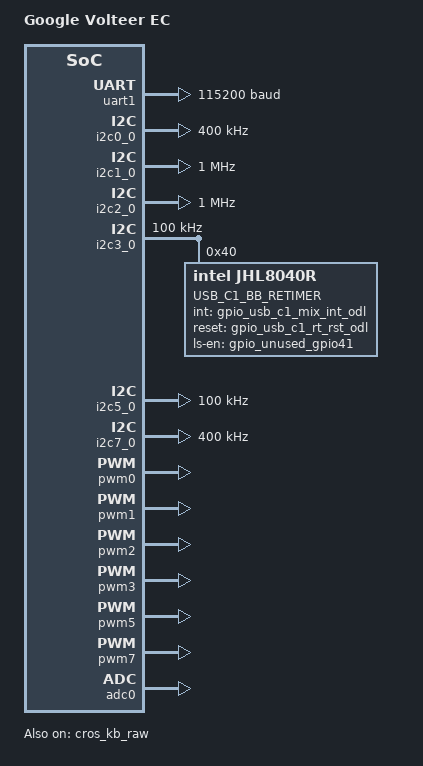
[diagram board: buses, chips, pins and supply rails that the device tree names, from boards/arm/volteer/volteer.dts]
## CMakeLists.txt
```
# Copyright 2020 The Chromium OS Authors. All rights reserved.
# Use of this source code is governed by a BSD-style license that can be
# found in the LICENSE file.
# SPDX-License-Identifier: Apache-2.0

cmake_minimum_required(VERSION 3.13.1)
set(BOARD_ROOT ${CMAKE_CURRENT_LIST_DIR})
set(BOARD volteer)

find_package(Zephyr REQUIRED HINTS $ENV{ZEPHYR_BASE})
project(volteer)

set(PLATFORM_EC_BOARD "${PLATFORM_EC}/board/volteer" CACHE PATH
    "Path to the platform/ec board directory")
set(PLATFORM_EC_BASEBOARD "${PLATFORM_EC}/baseboard/volteer" CACHE PATH
    "Path to the platform/ec baseboard directory")

# Include board specific header files
zephyr_include_directories(
  include
  ${PLATFORM_EC_BASEBOARD}
  ${PLATFORM_EC_BOARD})

# Include selected EC source for the baseboard
zephyr_sources_ifdef(CONFIG_PLATFORM_EC_BATTERY
  "${PLATFORM_EC_BASEBOARD}/battery_presence.c")
zephyr_sources_ifdef(CONFIG_PLATFORM_EC_CHARGE_MANAGER
  "${PLATFORM_EC_BASEBOARD}/charger.c")
zephyr_sources_ifdef(CONFIG_PLATFORM_EC_CBI
  "${PLATFORM_EC_BASEBOARD}/cbi.c"
  "${PLATFORM_EC_BASEBOARD}/cbi_ec_fw_config.c")
zephyr_sources_ifdef(CONFIG_PLATFORM_EC_POWERSEQ
  "${PLATFORM_EC_BASEBOARD}/power.c")
zephyr_sources_ifdef(CONFIG_PLATFORM_EC_USB_POWER_DELIVERY
  "${PLATFORM_EC_BASEBOARD}/usb_pd_policy.c")
zephyr_sources_ifdef(CONFIG_PLATFORM_EC_USBC
  "${PLATFORM_EC_BASEBOARD}/usbc_config.c")

# Include selected EC source for the board
zephyr_sources_ifdef(CONFIG_PLATFORM_EC_BATTERY
  "${PLATFORM_EC_BOARD}/battery.c")
zephyr_sources_ifdef(CONFIG_PLATFORM_EC_CBI
  "${PLATFORM_EC_BOARD}/cbi.c")
zephyr_sources_ifdef(CONFIG_PLATFORM_EC_KEYBOARD_BOARD_CONFIG
  "${PLATFORM_EC_BOARD}/keyboard.c")
zephyr_sources_ifdef(CONFIG_PLATFORM_EC_LED_COMMON
  "${PLATFORM_EC_BOARD}/led.c")
zephyr_sources_ifdef(CONFIG_PLATFORM_EC_USBC
  "${PLATFORM_EC_BOARD}/usbc_config.c")

# TODO: b/177854276, b/174851465
# Fan stub requires on PWM support.  Remove once full fan support
# is available.
zephyr_sources_ifdef(CONFIG_PLATFORM_EC_PWM         "src/fan.c")
zephyr_sources_ifdef(CONFIG_PLATFORM_EC_MOTIONSENSE "src/sensors.c")
```

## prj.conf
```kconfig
# Copyright 2021 The Chromium OS Authors. All rights reserved.
# Use of this source code is governed by a BSD-style license that can be
# found in the LICENSE file.

CONFIG_CROS_EC=y

# SoC configuration
CONFIG_AP=y
CONFIG_AP_X86_INTEL_TGL=y

# eSPI
CONFIG_ESPI=y
CONFIG_PLATFORM_EC_ESPI_VW_SLP_S4=y

CONFIG_PLATFORM_EC=y
CONFIG_SHIMMED_TASKS=y
CONFIG_ADC=y
CONFIG_I2C=y
CONFIG_PLATFORM_EC_EXTPOWER_GPIO=y
CONFIG_PLATFORM_EC_LID_SWITCH=y
CONFIG_PLATFORM_EC_POWER_BUTTON=y
CONFIG_PLATFORM_EC_CBI=y

# Keyboard
CONFIG_PLATFORM_EC_KEYBOARD=y
CONFIG_PLATFORM_EC_KEYBOARD_COL2_INVERTED=y
CONFIG_PLATFORM_EC_KEYBOARD_BOARD_CONFIG=y
CONFIG_PLATFORM_EC_KEYBOARD_KEYPAD=y
CONFIG_PLATFORM_EC_KEYBOARD_PWRBTN_ASSERTS_KSI2=y
CONFIG_PLATFORM_EC_VOLUME_BUTTONS=y

# Battery
CONFIG_PLATFORM_EC_BATTERY=y
CONFIG_PLATFORM_EC_BATTERY_SMART=y
CONFIG_PLATFORM_EC_BATTERY_FUEL_GAUGE=y

# TODO(b/179393708): re-enable cut-off once working again
CONFIG_PLATFORM_EC_BATTERY_CUT_OFF=n

CONFIG_PLATFORM_EC_BATTERY_HW_PRESENT_CUSTOM=y
CONFIG_PLATFORM_EC_BATTERY_REVIVE_DISCONNECT=y

# Keyboard Backlight
CONFIG_PLATFORM_EC_PWM_KBLIGHT=y

# LED
CONFIG_PLATFORM_EC_LED_COMMON=y
CONFIG_PLATFORM_EC_LED_PWM=y

# Power Sequencing
CONFIG_PLATFORM_EC_POWERSEQ=y
CONFIG_PLATFORM_EC_POWERSEQ_RTC_RESET=y
CONFIG_PLATFORM_EC_POWERSEQ_S0IX=y
CONFIG_PLATFORM_EC_POWER_SLEEP_FAILURE_DETECTION=y

# PWM
CONFIG_PWM=y
CONFIG_PLATFORM_EC_PWM=y

# Sensors
CONFIG_PLATFORM_EC_MOTIONSENSE=y
CONFIG_PLATFORM_EC_ACCEL_FIFO=y
CONFIG_PLATFORM_EC_ACCEL_INTERRUPTS=y
CONFIG_PLATFORM_EC_ALS=y
CONFIG_PLATFORM_EC_ALS_COUNT=1
CONFIG_PLATFORM_EC_DYNAMIC_MOTION_SENSOR_COUNT=y
CONFIG_PLATFORM_EC_GMR_TABLET_MODE=y
CONFIG_PLATFORM_EC_LID_ANGLE=y
CONFIG_PLATFORM_EC_LID_ANGLE_UPDATE=y
CONFIG_PLATFORM_EC_SENSOR_TIGHT_TIMESTAMPS=y
CONFIG_PLATFORM_EC_TABLET_MODE=y
CONFIG_PLATFORM_EC_CMD_ACCELS=y
CONFIG_PLATFORM_EC_CMD_ACCEL_INFO=y

# Sensor Drivers
CONFIG_PLATFORM_EC_ACCEL_BMA255=y
CONFIG_PLATFORM_EC_ACCELGYRO_BMI260=y
CONFIG_PLATFORM_EC_ALS_TCS3400=y

# Temperature sensors
CONFIG_PLATFORM_EC_TEMP_SENSOR=y
CONFIG_PLATFORM_EC_THERMISTOR=y
CONFIG_PLATFORM_EC_STEINHART_HART_3V3_30K9_47K_4050B=y

# Miscellaneous tasks
CONFIG_HAS_TASK_KEYPROTO=y
CONFIG_HAS_TASK_POWERBTN=y

# MKBP event
CONFIG_PLATFORM_EC_MKBP_EVENT=y
CONFIG_PLATFORM_EC_MKBP_USE_GPIO=y

# USB-C and charging
CONFIG_HAS_TASK_CHARGER=y
CONFIG_PLATFORM_EC_CHARGER_MIN_BAT_PCT_FOR_POWER_ON=3
CONFIG_PLATFORM_EC_CHARGER_MIN_BAT_PCT_FOR_POWER_ON_WITH_AC=1
CONFIG_PLATFORM_EC_CHARGER_MIN_POWER_MW_FOR_POWER_ON_WITH_BATT=15000
CONFIG_PLATFORM_EC_CHARGER_MIN_POWER_MW_FOR_POWER_ON=15001
CONFIG_HAS_TASK_USB_CHG_P1=y
CONFIG_PLATFORM_EC_BC12_DETECT_PI3USB9201=y
CONFIG_PLATFORM_EC_USB_PID=0x503e
CONFIG_PLATFORM_EC_USBC_PPC_SN5S330=y
CONFIG_PLATFORM_EC_USBC_PPC_SYV682X=y
CONFIG_PLATFORM_EC_USBC_RETIMER_INTEL_BB=y
CONFIG_PLATFORM_EC_USB_DRP_ACC_TRYSRC=y
CONFIG_PLATFORM_EC_USB_MUX_VIRTUAL=y
CONFIG_PLATFORM_EC_USB_PD_ALT_MODE_UFP=y
CONFIG_PLATFORM_EC_USB_PD_VBUS_MEASURE_CHARGER=y
CONFIG_PLATFORM_EC_USB_PD_DISCHARGE_PPC=y
CONFIG_PLATFORM_EC_USB_PD_FRS=y
CONFIG_PLATFORM_EC_USB_PD_FRS_PPC=y
CONFIG_PLATFORM_EC_USB_PD_REV30=y
CONFIG_PLATFORM_EC_BATTERY_FUEL_GAUGE=y
CONFIG_PLATFORM_EC_USB_PD_VBUS_DETECT_TCPC=y
CONFIG_PLATFORM_EC_USB_PD_TCPM_PS8815=y
CONFIG_PLATFORM_EC_USB_PD_TCPM_RT1715=y
CONFIG_PLATFORM_EC_USB_PD_TCPM_TUSB422=y
CONFIG_PLATFORM_EC_USB_PD_TCPM_MUX=y
CONFIG_HAS_TASK_PD_C1=y
CONFIG_HAS_TASK_PD_INT_C1=y
CONFIG_PLATFORM_EC_USBC_PPC_DEDICATED_INT=y
CONFIG_PLATFORM_EC_USB_A_PORT_COUNT=1

# Flash
CONFIG_PLATFORM_EC_PROTECTED_STORAGE_OFF=0x0
CONFIG_PLATFORM_EC_PROTECTED_STORAGE_SIZE=0x40000
CONFIG_PLATFORM_EC_WRITABLE_STORAGE_OFF=0x40000
CONFIG_PLATFORM_EC_WRITABLE_STORAGE_SIZE=0x40000

# RAM
CONFIG_PLATFORM_EC_BOOT_RAM_SIZE=0x800
```

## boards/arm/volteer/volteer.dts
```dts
/*
 * Copyright (c) 2020 The Chromium OS Authors
 *
 * SPDX-License-Identifier: Apache-2.0
 */

/dts-v1/;

#include <cros/nuvoton/npcx.dtsi>
#include <dt-bindings/gpio_defines.h>
#include <nuvoton/npcx7m6fb.dtsi>

/ {
	model = "Google Volteer EC";

	aliases {
		i2c-0 = &i2c0_0;
		i2c-1 = &i2c1_0;
		i2c-2 = &i2c2_0;
		i2c-3 = &i2c3_0;
		i2c-5 = &i2c5_0;
		i2c-7 = &i2c7_0;
	};

	chosen {
		zephyr,sram = &sram0;
		zephyr,console = &uart1;
		zephyr,shell-uart = &uart1;
		zephyr,flash = &flash0;
	};

	ec-console {
		compatible = "ec-console";

		disabled = "hostcmd";
	};

	named-i2c-ports {
		compatible = "named-i2c-ports";

		sensor_i2c: sensor {
			i2c-port = <&i2c0_0>;
			label = "SENSOR";
		};
		usb-c0 {
			i2c-port = <&i2c1_0>;
			label = "USB_C0";
		};
		usb-c1 {
			i2c-port = <&i2c2_0>;
			label = "USB_C1";
		};
		usb1-mix {
			i2c-port = <&i2c3_0>;
			label = "USB_1_MIX";
		};
		power {
			i2c-port = <&i2c5_0>;
			label = "POWER";
		};
		eeprom {
			i2c-port = <&i2c7_0>;
			label = "EEPROM";
		};
	};

	named-pwms {
		compatible = "named-pwms";

		led1_blue {
			pwms = <&pwm2 0 PWM_POLARITY_INVERTED>;
			label = "LED1_BLUE";
			frequency = <4800>;
		};
		led2_green  {
			pwms = <&pwm0 0 PWM_POLARITY_INVERTED>;
			label = "LED2_GREEN";
			frequency = <4800>;
		};
		led3_red {
			pwms = <&pwm1 0 PWM_POLARITY_INVERTED>;
			label = "LED3_RED";
			frequency = <4800>;
		};
		led3_sidesel {
			pwms = <&pwm7 0 PWM_POLARITY_INVERTED>;
			label = "LED4_SIDESEL";
			frequency = <2400>;
		};
		kblight {
			pwms = <&pwm3 0 0>;
			label = "KBLIGHT";
			frequency = <2400>;
		};
		fan {
			pwms = <&pwm5 0 0>;
			label = "FAN";
			frequency = <25000>;
		};
	};

	named-adc-channels {
		compatible = "named-adc-channels";

		adc_charger: charger {
			label = "ADC_TEMP_SENSOR_CHARGER";
			channel = <0>;
		};
		adc_pp3300_regulator: pp3300_regulator {
			label = "ADC_TEMP_SENSOR_PP3300_REGULATOR";
			channel = <1>;
		};
		adc_ddr_soc: ddr_soc {
			label = "ADC_TEMP_SENSOR_DDR_SOC";
			channel = <8>;
		};
		adc_fan: fan {
			label = "ADC_TEMP_SENSOR_FAN";
			channel = <3>;
		};
	};

	named-temp-sensors {
		charger {
			compatible = "temp-3v3-30k9-47k-4050b";
			label = "TEMP_SENSOR_CHARGER";
			adc = <&adc_charger>;
		};
		pp3300_regulator {
			compatible = "temp-3v3-30k9-47k-4050b";
			label = "TEMP_SENSOR_PP3300_REGULATOR";
			adc = <&adc_pp3300_regulator>;
		};
		ddr_soc {
			compatible = "temp-3v3-30k9-47k-4050b";
			label = "TEMP_SENSOR_DDR_SOC";
			adc = <&adc_ddr_soc>;
		};
		fan {
			compatible = "temp-3v3-30k9-47k-4050b";
			label = "TEMP_SENSOR_FAN";
			adc = <&adc_fan>;
		};
	};

	named-gpios {
		compatible = "named-gpios";

		ec_lid_open {
			gpios = <&gpiod 2 GPIO_INPUT>;
			label = "EC_LID_OPEN";
		};
		ec_wp_l {
			gpios = <&gpioa 1 GPIO_INPUT>;
			label = "EC_WP_L";
		};
		h1_ec_pwr_btn_odl {
			gpios = <&gpio0 1 GPIO_INPUT>;
			label = "H1_EC_PWR_BTN_ODL";
		};
		acok_od {
			gpios = <&gpio0 0 GPIO_INPUT>;
			label = "ACOK_OD";
		};
		slp_s0_l {
			gpios = <&gpiod 5 GPIO_INPUT>;
			label = "SLP_S0_L";
		};
		slp_s3_l {
			gpios = <&gpioa 5 GPIO_INPUT>;
			label = "SLP_S3_L";
		};
		slp_sus_l {
			gpios = <&gpiod 7 GPIO_INPUT>;
			label = "SLP_SUS_L";
		};
		pg_ec_rsmrst_odl {
			gpios = <&gpioe 2 GPIO_INPUT>;
			label = "PG_EC_RSMRST_ODL";
		};
		pg_ec_dsw_pwrok {
			gpios = <&gpioc 7 GPIO_INPUT>;
			label = "PG_EC_DSW_PWROK";
		};
		pg_ec_all_sys_pwrgd {
			gpios = <&gpiof 4 GPIO_INPUT>;
			label = "PG_EC_ALL_SYS_PWRGD";
		};
		imu_int_l: ec_imu_int_l {
			gpios = <&gpio5 6 GPIO_INPUT>;
			label = "EC_IMU_INT_L";
		};
		als_rgb_int_l: ec_als_rgb_int_l {
			gpios = <&gpiod 4 GPIO_INPUT>;
			label = "EC_ALS_RGB_INT_L";
		};
		tablet_mode_l {
			gpios = <&gpio9 5 GPIO_INPUT>;
			label = "TABLET_MODE_L";
		};
		ec_accel_int {
			gpios = <&gpio8 1 (GPIO_INPUT | GPIO_PULL_UP)>;
			label = "EC_ACCEL_INT";
		};
		usb_c0_tcpc_int_odl {
			gpios = <&gpioe 0 GPIO_INPUT>;
			label = "USB_C0_TCPC_INT_ODL";
		};
		usb_c1_tcpc_int_odl {
			gpios = <&gpioa 2 GPIO_INPUT>;
			label = "USB_C1_TCPC_INT_ODL";
		};
		usb_c0_ppc_int_odl {
			gpios = <&gpio6 2 GPIO_INPUT>;
			label = "USB_C0_PPC_INT_ODL";
		};
		usb_c1_ppc_int_odl {
			gpios = <&gpiof 5 GPIO_INPUT>;
			label = "USB_C1_PPC_INT_ODL";
		};
		usb_c0_bc12_int_odl {
			gpios = <&gpioe 4 GPIO_INPUT>;
			label = "USB_C0_BC12_INT_ODL";
		};
		gpio_usb_c1_mix_int_odl: usb_c1_mix_int_odl {
			#gpio-cells = <0>;
			gpios = <&gpio0 3 GPIO_INPUT>;
			label = "USB_C1_MIX_INT_ODL";
		};
		usb_c1_frs_en {
			gpios = <&gpio9 4 GPIO_OUT_LOW>;
			label = "USB_C1_FRS_EN";
		};
		ec_voldn_btn_odl {
			gpios = <&gpio9 3 (GPIO_INPUT | GPIO_PULL_UP)>;
			label = "EC_VOLDN_BTN_ODL";
		};
		ec_volup_btn_odl {
			gpios = <&gpio9 7 (GPIO_INPUT | GPIO_PULL_UP)>;
			label = "EC_VOLUP_BTN_ODL";
		};
		en_pp3300_a {
			gpios = <&gpioa 3 GPIO_OUT_LOW>;
			label = "EN_PP3300_A";
		};
		en_pp5000_a {
			gpios = <&gpioa 4 GPIO_OUT_LOW>;
			label = "EN_PP5000_A";
		};
		en_ppvar_vccin {
			gpios = <&gpio4 3 GPIO_OUT_LOW>;
			label = "EN_PPVAR_VCCIN";
		};
		ec_pch_dsw_pwrok {
			gpios = <&gpioc 0 GPIO_OUT_LOW>;
			label = "EC_PCH_DSW_PWROK";
		};
		ec_rst_odl {
			gpios = <&gpio0 2 GPIO_INPUT>;
			label = "EC_RST_ODL";
		};
		ec_pch_sys_pwrok {
			gpios = <&gpio3 7 GPIO_OUT_LOW>;
			label = "EC_PCH_SYS_PWROK";
		};
		ec_pch_rsmrst_odl {
			gpios = <&gpioa 6 GPIO_ODR_LOW>;
			label = "EC_PCH_RSMRST_ODL";
		};
		ec_pch_pwr_btn_odl {
			gpios = <&gpioc 1 GPIO_ODR_HIGH>;
			label = "EC_PCH_PWR_BTN_ODL";
		};
		ec_pch_rtcrst {
			gpios = <&gpio7 6 GPIO_OUT_LOW>;
			label = "EC_PCH_RTCRST";
		};
		ec_pch_wake_odl {
			gpios = <&gpio7 4 GPIO_ODR_HIGH>;
			label = "EC_PCH_WAKE_ODL";
		};
		ec_entering_rw {
			gpios = <&gpioe 3 GPIO_OUT_LOW>;
			label = "EC_ENTERING_RW";
		};
		ec_prochot_odl {
			gpios = <&gpio6 3 GPIO_ODR_HIGH>;
			label = "EC_PROCHOT_ODL";
		};
		ec_prochot_in_l {
			gpios = <&gpiof 0 GPIO_INPUT>;
			label = "EC_PROCHOT_IN_L";
		};
		sys_rst_odl {
			gpios = <&gpioc 5 GPIO_ODR_HIGH>;
			label = "SYS_RST_ODL";
		};
		ec_pch_int_odl {
			gpios = <&gpiob 0 GPIO_ODR_HIGH>;
			label = "EC_PCH_INT_ODL";
		};
		en_pp5000_usba {
			gpios = <&gpioc 6 GPIO_OUT_LOW>;
			label = "EN_PP5000_USBA";
		};
		usb_a_low_pwr_od {
			gpios = <&gpio6 6 GPIO_ODR_LOW>;
			label = "USB_A_LOW_PWR_OD";
		};
		gpio_usb_c1_rt_rst_odl_boardid_0: usb_c1_rt_rst_odl_boardid_0 {
			#gpio-cells = <0>;
			gpios = <&gpio3 2 GPIO_ODR_LOW>;
			label = "USB_C1_RT_RST_ODL_BOARDID_0";
		};
		gpio_usb_c1_rt_rst_odl: usb_c1_rt_rst_odl {
			#gpio-cells = <0>;
			gpios = <&gpio8 3 GPIO_ODR_LOW>;
			label = "USB_C1_RT_RST_ODL";
		};
		usb_c0_oc_odl {
			gpios = <&gpiob 1 GPIO_ODR_HIGH>;
			label = "USB_C0_OC_ODL";
		};
		usb_c1_oc_odl {
			gpios = <&gpio5 0 GPIO_ODR_HIGH>;
			label = "USB_C1_OC_ODL";
		};
		usb_c1_rt_int_odl {
			gpios = <&gpiof 3 GPIO_INPUT>;
			label = "USB_C1_RT_INT_ODL";
		};
		ec_h1_packet_mode {
			gpios = <&gpio7 5 GPIO_OUT_LOW>;
			label = "EC_H1_PACKET_MODE";
		};
		m2_ssd_pln {
			gpios = <&gpioa 0 GPIO_ODR_HIGH>;
			label = "M2_SSD_PLN";
		};
		m2_ssd_pla {
			gpios = <&gpio7 0 GPIO_INPUT>;
			label = "M2_SSD_PLA";
		};
		ccd_mode_odl {
			gpios = <&gpioe 5 GPIO_INPUT>;
			label = "CCD_MODE_ODL";
		};
		ec_slp_s0ix {
			gpios = <&gpio7 2 (GPIO_INPUT | GPIO_PULL_UP)>;
			label = "EC_SLP_S0IX";
		};
		gpio_unused_gpio41: unused_gpio41 {
			#gpio-cells = <0>;
			gpios = <&gpio4 1 (GPIO_INPUT | GPIO_PULL_UP)>;
			label = "UNUSED_GPIO41";
		};
		unused_gpiof2 {
			gpios = <&gpiof 2 (GPIO_INPUT | GPIO_PULL_UP)>;
			label = "UNUSED_GPIOF2";
		};
		unused_gpio96 {
			gpios = <&gpio9 6 (GPIO_INPUT | GPIO_PULL_UP)>;
			label = "UNUSED_GPIO96";
		};
		unused_gpio34 {
			gpios = <&gpio3 4 (GPIO_INPUT | GPIO_PULL_UP)>;
			label = "UNUSED_GPIO34";
		};
		ec_kb_bl_en {
			gpios = <&gpio8 6 (GPIO_INPUT | GPIO_PULL_UP)>;
			label = "EC_KB_BL_EN";
		};
		ec_espi_alert_l {
			gpios = <&gpio5 7 (GPIO_INPUT | GPIO_PULL_UP)>;
			label = "EC_ESPI_ALERT_L";
		};
		ec_edp_bl_en {
			gpios = <&gpiod 3 GPIO_OUT_HIGH>;
			label = "EC_EDP_BL_EN";
		};
		ec_i2c0_sensor_scl {
			gpios = <&gpiob 5 GPIO_INPUT>;
			label = "EC_I2C0_SENSOR_SCL";
		};
		ec_i2c0_sensor_sda {
			gpios = <&gpiob 4 GPIO_INPUT>;
			label = "EC_I2C0_SENSOR_SDA";
		};
		ec_i2c1_usb_c0_scl {
			gpios = <&gpio9 0 GPIO_INPUT>;
			label = "EC_I2C1_USB_C0_SCL";
		};
		ec_i2c1_usb_c0_sda {
			gpios = <&gpio8 7 GPIO_INPUT>;
			label = "EC_I2C1_USB_C0_SDA";
		};
		ec_i2c2_usb_c1_scl {
			gpios = <&gpio9 2 GPIO_INPUT>;
			label = "EC_I2C2_USB_C1_SCL";
		};
		ec_i2c2_usb_c1_sda {
			gpios = <&gpio9 1 GPIO_INPUT>;
			label = "EC_I2C2_USB_C1_SDA";
		};
		ec_i2c3_usb_1_mix_scl {
			gpios = <&gpiod 1 GPIO_INPUT>;
			label = "EC_I2C3_USB_1_MIX_SCL";
		};
		ec_i2c3_usb_1_mix_sda {
			gpios = <&gpiod 0 GPIO_INPUT>;
			label = "EC_I2C3_USB_1_MIX_SDA";
		};
		ec_i2c5_battery_scl {
			gpios = <&gpio3 3 GPIO_INPUT>;
			label = "EC_I2C5_BATTERY_SCL";
		};
		ec_i2c5_battery_sda {
			gpios = <&gpio3 6 GPIO_INPUT>;
			label = "EC_I2C5_BATTERY_SDA";
		};
		ec_i2c7_eeprom_pwr_scl_r {
			gpios = <&gpiob 3 GPIO_INPUT>;
			label = "EC_I2C7_EEPROM_PWR_SCL_R";
		};
		ec_i2c7_eeprom_pwr_sda_r {
			gpios = <&gpiob 2 GPIO_INPUT>;
			label = "EC_I2C7_EEPROM_PWR_SDA_R";
		};
		ec_batt_pres_odl {
			gpios = <&gpioe 1 GPIO_INPUT>;
			label = "EC_BATT_PRES_ODL";
		};
		en_pp5000_fan {
			gpios = <&gpio6 1 GPIO_OUT_LOW>;
			label = "EN_PP5000_FAN";
		};
		ec_kso_02_inv {
			gpios = <&gpio1 7 GPIO_OUT_LOW>;
			label = "EC_KSO_02_INV";
		};
	};

	def_lvol_io_list {
		compatible = "nuvoton,npcx-lvolctrl-def";
		lvol_io_pads = <&lvol_iob4 &lvol_iob5>; /* I2C_SDA0 & SCL0 */
	};

	soc {
		cros_kb_raw: cros-kb-raw@400a3000 {
			compatible = "nuvoton,npcx-cros-kb-raw";
			reg = <0x400a3000 0x2000>;
			label = "CROS_KB_RAW_0";
			interrupts = <49 0>;
			clocks = <&pcc NPCX_CLOCK_BUS_APB1 NPCX_PWDWN_CTL1 0>;
			/* No KSO2 (it's inverted and implemented by GPIO.) */
			pinctrl-0 = <&alt7_no_ksi0_sl /* KSI0 PIN31 */
				     &alt7_no_ksi1_sl /* KSI1 PIN30 */
				     &alt7_no_ksi2_sl /* KSI2 PIN27 */
				     &alt7_no_ksi3_sl /* KSI3 PIN26 */
				     &alt7_no_ksi4_sl /* KSI4 PIN25 */
				     &alt7_no_ksi5_sl /* KSI5 PIN24 */
				     &alt7_no_ksi6_sl /* KSI6 PIN23 */
				     &alt7_no_ksi7_sl /* KSI7 PIN22 */
				     &alt8_no_kso00_sl /* KSO00 PIN21 */
				     &alt8_no_kso01_sl /* KSO01 PIN20 */
				     &alt8_no_kso03_sl /* KSO03 PIN16 */
				     &alt8_no_kso04_sl /* KSO04 PIN15 */
				     &alt8_no_kso05_sl /* KSO05 PIN14 */
				     &alt8_no_kso06_sl /* KSO06 PIN13 */
				     &alt8_no_kso07_sl /* KSO07 PIN12 */
				     &alt9_no_kso08_sl /* KSO08 PIN11 */
				     &alt9_no_kso09_sl /* KSO09 PIN10 */
				     &alt9_no_kso10_sl /* KSO10 PIN07 */
				     &alt9_no_kso11_sl /* KSO11 PIN06 */
				     &alt9_no_kso12_sl /* KSO12 PIN05 */
				     &alt9_no_kso13_sl /* KSO13 PIN04 */
				     &alt9_no_kso14_sl /* KSO14 PIN82 */
				     >;
			wui_maps = <&wui_io31 &wui_io30 &wui_io27 &wui_io26
				    &wui_io25 &wui_io24 &wui_io23 &wui_io22>;
			status = "disabled";
		};

		fiu0: cros-flash@40020000 {
			compatible = "nuvoton,npcx-cros-flash";
			reg = <0x40020000 0x2000>;
			clocks = <&pcc NPCX_CLOCK_BUS_APB3 NPCX_PWDWN_CTL1 2>;
			size = <0x80000>;
			label = "FLASH_INTERFACE_UNIT0";
			pinctrl-0 = <>;
		};
	};

	/*
	 * The NPCX loader copies our image from ROM to code RAM, so the flash
	 * node actually represents the code RAM location and size.
	 * Override the code RAM for the NPCX797FC.
	 */
	/delete-node/ flash@10090000;
	flash0: flash@10070000 {
		reg = <0x10070000 0x40000>;
	};
};

&uart1 {
	status = "okay";
	current-speed = <115200>;
	pinctrl-0 = <&altc_uart1_sl2>; /* Use UART1_SL2 ie. PIN64.65 */
};

&i2c0_0 {
	status = "okay";
	clock-frequency = <I2C_BITRATE_FAST>;
};

&i2c1_0 {
	status = "okay";
	clock-frequency = <I2C_BITRATE_FAST_PLUS>;
};

&i2c2_0 {
	status = "okay";
	clock-frequency = <I2C_BITRATE_FAST_PLUS>;
};

&i2c3_0 {
	status = "okay";
	clock-frequency = <I2C_BITRATE_STANDARD>;

	usb_c1_bb_retimer: jhl8040r@40 {
		compatible = "intel,jhl8040r";
		reg = <0x40>;
		label = "USB_C1_BB_RETIMER";
		int-gpios = <&gpio_usb_c1_mix_int_odl>;
		reset-gpios = <&gpio_usb_c1_rt_rst_odl>;
		ls-en-gpios = <&gpio_unused_gpio41>;
	};
};

&i2c5_0 {
	status = "okay";
	clock-frequency = <I2C_BITRATE_STANDARD>;
};

&i2c7_0 {
	status = "okay";
	clock-frequency = <I2C_BITRATE_FAST>;
};

&cros_kb_raw {
	status = "okay";
};

/* Green LED */
&pwm0 {
	status = "okay";
};

/* Red LED */
&pwm1 {
	status = "okay";
};

/* Blue LED */
&pwm2 {
	status = "okay";
};

/* Keyboard backlight */
&pwm3 {
	status = "okay";
};

/* Fan control */
&pwm5 {
	status = "okay";
};

/* Side selection LED */
&pwm7 {
	status = "okay";
};

&adc0 {
	status = "okay";
};

#include "volteer_sensors.dtsi"
```

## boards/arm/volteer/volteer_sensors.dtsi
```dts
/*
 * Copyright (c) 2020 The Chromium OS Authors
 *
 * SPDX-License-Identifier: Apache-2.0
 */

#include <dt-bindings/utils.h>

/ {
	motionsense-mutex {
		compatible = "cros-ec,motionsense-mutex";
		mutex1: bma255-mutex {
			label = "BMA255 Mutex";
		};

		mutex2: bmi260-mutex {
			label = "BMI260 Mutex";
		};
	};

	motionsense-rotation-ref {
		compatible = "cros-ec,motionsense-rotation-ref";
		lid_rot_ref: lid-rotation-ref {
			mat33 = <1 0 0
				 0 (-1) 0
				 0 0 (-1)>;
		};
		base_rot_ref: base-rotation-ref {
			mat33 = <0 1 0
				 (-1) 0 0
				 0 0 1>;
		};
	};

	motionsense-sensor-data {
		bma255_data: bma255-drv-data {
			compatible = "cros-ec,drvdata-bma255";
			status = "okay";
		};

		bmi260_data: bmi260-drv-data {
			compatible = "cros-ec,drvdata-bmi260";
			status = "okay";
		};

		tcs_clear_data: tcs3400-clear-drv-data {
			compatible = "cros-ec,drvdata-tcs3400-clear";
			status = "okay";

			als-drv-data {
				compatible = "cros-ec,accelgyro-als-drv-data";
				als-cal {
					scale = <1>;
					uscale = <0>;
					offset = <0>;
					als-channel-scale {
					compatible =
					"cros-ec,accelgyro-als-channel-scale";
						k-channel-scale = <1>;
						cover-scale = <1>;
					};
				};
			};
		};

		tcs_rgb_data: tcs3400-rgb-drv-data {
			compatible = "cros-ec,drvdata-tcs3400-rgb";
			status = "okay";

			rgb_calibration {
				compatible =
					"cros-ec,accelgyro-rgb-calibration";

				irt = <1>;

				rgb-cal-x {
					offset = <0>;
					coeff = <0 0 0 0>;
					als-channel-scale {
					compatible =
					"cros-ec,accelgyro-als-channel-scale";
						k-channel-scale = <1>;
						cover-scale = <1>;
					};
				};
				rgb-cal-y {
					offset = <0>;
					coeff = <0 0 0 0>;
					als-channel-scale {
					compatible =
					"cros-ec,accelgyro-als-channel-scale";
						k-channel-scale = <1>;
						cover-scale = <1>;
					};
				};
				rgb-cal-z {
					offset = <0>;
					coeff = <0 0 0 0>;
					als-channel-scale {
					compatible =
					"cros-ec,accelgyro-als-channel-scale";
						k-channel-scale = <1>;
						cover-scale = <1>;
					};
				};
			};
		};
	};

	motionsense-sensor {
		lid_accel: lid-accel {
			compatible = "cros-ec,motionsense-sensor";

			label = "Lid Accel";
			active-mask = "SENSOR_ACTIVE_S0_S3";
			location = "MOTIONSENSE_LOC_LID";
			mutex = <&mutex1>;
			port = <&sensor_i2c>;
			rot-standard-ref = <&lid_rot_ref>;
			default-range = <2>;
			drv-data = <&bma255_data>;
			drv-info {
				compatible = "cros-ec,drv-bma255";
				status = "okay";

				i2c-spi-addr-flags = "BMA2x2_I2C_ADDR1_FLAGS";
			};
			configs {
				compatible = "cros-ec,motionsense-sensor-config";

				ec-s0 {
					label = "SENSOR_CONFIG_EC_S0";
					odr = <(10000 | ROUND_UP_FLAG)>;
				};
				ec-s3 {
					label = "SENSOR_CONFIG_EC_S3";
					odr = <(10000 | ROUND_UP_FLAG)>;
				};
			};
		};

		base_accel: base-accel {
			compatible = "cros-ec,motionsense-sensor";

			label = "Base Accel";
			active-mask = "SENSOR_ACTIVE_S0_S3";
			location = "MOTIONSENSE_LOC_BASE";
			mutex = <&mutex2>;
			port = <&sensor_i2c>;
			rot-standard-ref = <&base_rot_ref>;
			default-range = <4>;
			drv-data = <&bmi260_data>;
			bmi260_int: drv-info {
				compatible = "cros-ec,drv-bmi260-accel";
				status = "okay";

				i2c-spi-addr-flags = "BMI260_ADDR0_FLAGS";
			};
			configs {
				compatible = "cros-ec,motionsense-sensor-config";

				ec-s0 {
					label = "SENSOR_CONFIG_EC_S0";
					odr = <(10000 | ROUND_UP_FLAG)>;
					ec-rate = <(100 * MSEC)>;
				};
				ec-s3 {
					label = "SENSOR_CONFIG_EC_S3";
					odr = <(10000 | ROUND_UP_FLAG)>;
					ec-rate = <(100 * MSEC)>;
				};
			};
		};

		base-gyro {
			compatible = "cros-ec,motionsense-sensor";

			label = "Base Gyro";
			active-mask = "SENSOR_ACTIVE_S0_S3";
			location = "MOTIONSENSE_LOC_BASE";
			mutex = <&mutex2>;
			port = <&sensor_i2c>;
			rot-standard-ref = <&base_rot_ref>;
			default-range = <1000>; /* dps */
			drv-data = <&bmi260_data>;
			drv-info {
				compatible = "cros-ec,drv-bmi260-gyro";
				status = "okay";

				i2c-spi-addr-flags = "BMI260_ADDR0_FLAGS";
			};
		};

		als_clear: base-als-clear {
			compatible = "cros-ec,motionsense-sensor";

			label = "Clear Light";
			active-mask = "SENSOR_ACTIVE_S0_S3";
			location = "MOTIONSENSE_LOC_BASE";
			port = <&sensor_i2c>;
			default-range = <0x10000>;
			drv-data = <&tcs_clear_data>;
			tcs3400_int: drv-info {
				compatible = "cros-ec,drv-tcs3400-clear";
				status = "okay";

				i2c-spi-addr-flags = "TCS3400_I2C_ADDR_FLAGS";
			};
			configs {
				compatible = "cros-ec,motionsense-sensor-config";

				ec-s0 {
					/* Run ALS sensor in S0 */
					label = "SENSOR_CONFIG_EC_S0";
					odr = <1000>;
				};
			};
		};

		base-als-rgb {
			compatible = "cros-ec,motionsense-sensor";

			label = "RGB Light";
			active-mask = "SENSOR_ACTIVE_S0_S3";
			location = "MOTIONSENSE_LOC_BASE";
			default-range = <0x10000>; /* scale = 1x, uscale = 0 */
			drv-data = <&tcs_rgb_data>;
			drv-info {
				compatible = "cros-ec,drv-tcs3400-rgb";
				status = "okay";
			};
		};
	};

	motionsense-sensor-info {
		compatible = "cros-ec,motionsense-sensor-info";

		als-sensors = <&als_clear>;
		sensor-irqs = <&imu_int_l &als_rgb_int_l>;
		accel-force-mode-sensors = <&lid_accel &als_clear>;
	};
};
```

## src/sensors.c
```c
/* Copyright 2021 The Chromium OS Authors. All rights reserved.
 * Use of this source code is governed by a BSD-style license that can be
 * found in the LICENSE file.
 */

#include "chipset.h"
#include "common.h"
#include "keyboard_scan.h"

#ifdef CONFIG_LID_ANGLE_UPDATE
void lid_angle_peripheral_enable(int enable)
{
	int chipset_in_s0 = chipset_in_state(CHIPSET_STATE_ON);

	if (enable) {
		keyboard_scan_enable(1, KB_SCAN_DISABLE_LID_ANGLE);
	} else {
		/*
		 * Ensure that the chipset is off before disabling the keyboard.
		 * When the chipset is on, the EC keeps the keyboard enabled and
		 * the AP decides whether to ignore input devices or not.
		 */
		if (!chipset_in_s0)
			keyboard_scan_enable(0, KB_SCAN_DISABLE_LID_ANGLE);
	}
}
#endif
```
